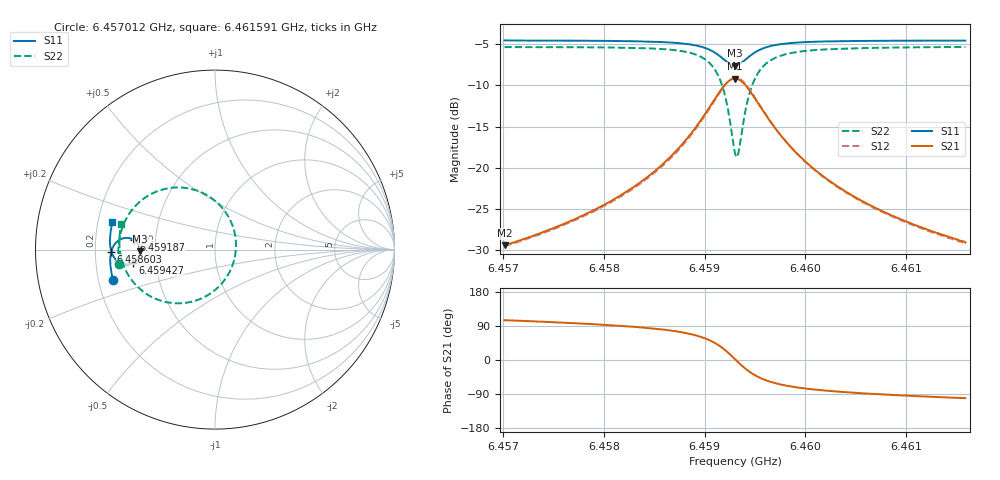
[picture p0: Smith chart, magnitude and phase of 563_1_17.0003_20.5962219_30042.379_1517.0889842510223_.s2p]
#  HZ  S  RI  R  50.00
! Rohde & Schwarz Vector Network Analyzer
! Rohde-Schwarz,ZNB20-2Port,1311601062101988,3.16
! Created: UTC 3/20/2024, 11:17:17 PM
! freq[Hz]  re:S11  im:S11  re:S21  im:S21  re:S12  im:S12  re:S22  im:S22
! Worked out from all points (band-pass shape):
!   401 points, 6.457012 GHz to 6.461591 GHz, reference 50 ohm
!   highest |S21| = -9.18 dB at 6.459301 GHz (marker M1); lowest = -29.4 dB at 6.457012 GHz (marker M2)
!   |S21| within 3 dB of the highest: 6.459073 GHz to 6.459531 GHz (457.8 kHz wide, 0.00709 % of centre)
!   lowest |S11| = -7.6 dB at 6.459301 GHz (marker M3), VSWR 2.43, Z = 20.6 - j0.439 ohm
!   |S11| at or under -10 dB: nowhere
!   |S22| runs from -18.7 to -5.3 dB; largest |S21 - S12| = 0.014
!   S11 on the Smith chart (normalised r, x): 6.457012 GHz: 0.26, -0.14; 6.458603 GHz: 0.27, -0.01; 6.459187 GHz: 0.37, +0.05; 6.459427 GHz: 0.37, -0.07; 6.461591 GHz: 0.26, +0.12
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6.4570124e9  -0.5674 -0.1695  -0.00868 0.0327  -0.007 0.0327  -0.5335 -0.0816
6.4577792e9  -0.5812 -0.1023  -0.00541 0.0508  -0.00285 0.0501  -0.5383 0.00854
6.4581684e9  -0.5839 -0.0635  -0.000221 0.0682  0.00304 0.0669  -0.5311 0.0697
6.4585461e9  -0.5799 -0.0186  0.0146 0.0993  0.0187 0.0964  -0.5039 0.1539
6.4586033e9  -0.578 -0.0107  0.0191 0.1062  0.0231 0.103  -0.4956 0.1705
6.4588093e9  -0.5648 0.0212  0.0468 0.1387  0.0511 0.1336  -0.4434 0.2434
6.4589581e9  -0.542 0.0476  0.0924 0.1691  0.0955 0.1624  -0.3592 0.3078
6.4590955e9  -0.498 0.0651  0.1801 0.1856  0.181 0.1782  -0.1987 0.3461
6.459187e9  -0.4532 0.0547  0.2705 0.1541  0.2708 0.1481  -0.0312 0.2951
6.4592557e9  -0.4239 0.0224  0.3311 0.0816  0.3334 0.0763  0.0849 0.1641
6.4593015e9  -0.417 -0.00881  0.3475 0.0131  0.3513 0.00614  0.1171 0.0359
6.4593129e9  -0.4175 -0.0168  0.3473 -0.0047  0.3514 -0.0125  0.1166 0.00196
6.4593358e9  -0.421 -0.0327  0.3417 -0.0396  0.3457 -0.0489  0.1052 -0.0644
6.4593816e9  -0.4368 -0.0589  0.3126 -0.1  0.3149 -0.112  0.0466 -0.1783
6.4594274e9  -0.459 -0.0753  0.2703 -0.1412  0.2694 -0.1546  -0.0397 -0.2537
6.4595189e9  -0.5027 -0.0821  0.1846 -0.1722  0.1784 -0.1839  -0.2102 -0.2993
6.4596677e9  -0.5467 -0.0616  0.0962 -0.158  0.0877 -0.1642  -0.3791 -0.2489
6.459828e9  -0.5684 -0.0337  0.0513 -0.1296  0.0436 -0.1325  -0.4597 -0.1759
6.4600683e9  -0.581 0.00188  0.0221 -0.0979  0.0162 -0.0984  -0.5075 -0.0927
6.4604232e9  -0.5855 0.044  0.00577 -0.0701  0.00176 -0.0697  -0.5292 -0.011
6.4608352e9  -0.5834 0.0855  -0.00155 -0.0522  -0.00456 -0.0512  -0.5329 0.0551
6.4615906e9  -0.5712 0.1523  -0.00653 -0.0346  -0.00839 -0.0338  -0.5212 0.1447
